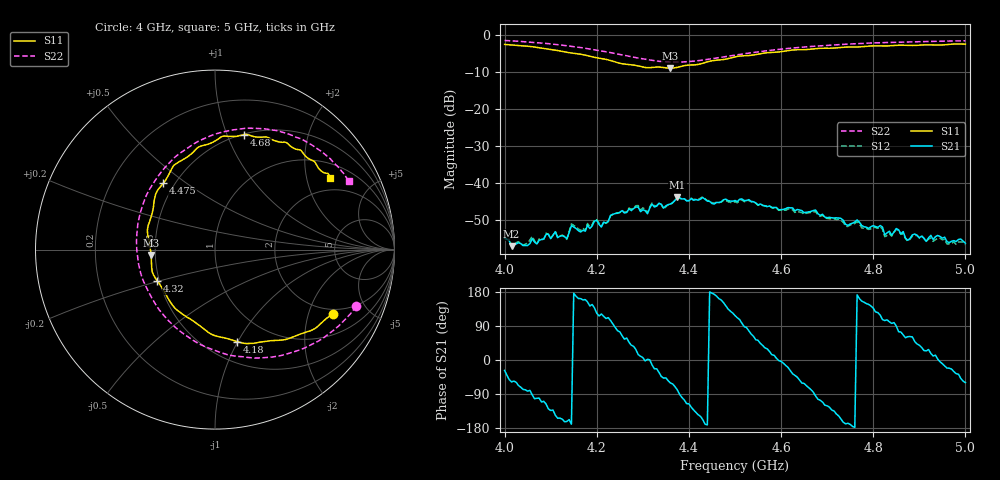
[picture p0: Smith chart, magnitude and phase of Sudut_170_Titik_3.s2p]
# Hz S RI R 50
! CMT, C1220, 16058040, 17.2.0/1
! Date: 15/08/2018 12:39:30
! Data: Format (Calibration Info)
! Freq  S11: Re/Im (F2)  S21: Re/Im (F2)  S12: Re/Im (F2)  S22: Re/Im (F2)
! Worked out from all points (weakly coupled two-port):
!   201 points, 4 GHz to 5 GHz, reference 50 ohm
!   highest |S21| = -43.71 dB at 4.375 GHz (marker M1); lowest = -57.0 dB at 4.015 GHz (marker M2)
!   lowest |S11| = -8.9 dB at 4.36 GHz (marker M3), VSWR 2.11, Z = 23.7 - j1.67 ohm
!   |S11| at or under -10 dB: nowhere
!   |S22| runs from -7.3 to -1.4 dB; largest |S21 - S12| = 0.00039
!   S11 on the Smith chart (normalised r, x): 4 GHz: 1.79, -2.92; 4.18 GHz: 0.70, -1.00; 4.32 GHz: 0.49, -0.20; 4.475 GHz: 0.43, +0.41; 4.68 GHz: 0.51, +1.15; 5 GHz: 1.48, +2.76
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4e9  0.6573 -0.3586  0.00161 -0.000839  0.00164 -0.000734  0.7868 -0.3146
4.015e9  0.6304 -0.3762  0.000756 -0.0012  0.000875 -0.00114  0.7614 -0.3494
4.06e9  0.5308 -0.4527  -7e-05 -0.00179  -7.54e-05 -0.00192  0.6662 -0.4448
4.07e9  0.5043 -0.4608  -0.000289 -0.00149  -0.000271 -0.00148  0.6405 -0.4645
4.11e9  0.3741 -0.5037  -0.00183 -0.00126  -0.0018 -0.00134  0.5231 -0.5362
4.135e9  0.2898 -0.5103  -0.00171 -0.000548  -0.00163 -0.000652  0.4375 -0.5697
4.145e9  0.2497 -0.5157  -0.00264 -0.000493  -0.00276 -0.000664  0.4 -0.5815
4.17e9  0.1579 -0.5215  -0.00216 0.000855  -0.00233 0.000895  0.3044 -0.5999
4.18e9  0.1249 -0.5133  -0.00242 0.00123  -0.00255 0.0013  0.262 -0.6027
4.21e9  0.0133 -0.4837  -0.00134 0.0022  -0.00135 0.00221  0.1341 -0.5956
4.285e9  -0.2371 -0.3092  0.00426 0.0022  0.00441 0.00233  -0.1877 -0.46
4.31e9  -0.2946 -0.213  0.00388 0.000124  0.004 -2.9e-05  -0.2771 -0.3758
4.32e9  -0.321 -0.1757  0.0051 -0.00118  0.00527 -0.00132  -0.3098 -0.337
4.335e9  -0.3492 -0.1251  0.00454 -0.00291  0.00445 -0.00309  -0.35 -0.2721
4.36e9  -0.3557 -0.0306  0.00257 -0.00459  0.00246 -0.0045  -0.4066 -0.1561
4.375e9  -0.3655 0.0395  0.00122 -0.00641  0.00113 -0.00636  -0.4257 -0.0803
4.475e9  -0.2888 0.3697  -0.00528 0.00286  -0.00504 0.00301  -0.3385 0.3766
4.5e9  -0.2428 0.4476  -0.00269 0.00521  -0.00251 0.00505  -0.2781 0.4583
4.67e9  0.1446 0.6356  0.000383 -0.00428  0.000303 -0.00408  0.2058 0.6763
4.68e9  0.1624 0.6404  -0.000916 -0.00379  -0.000877 -0.00363  0.2323 0.6751
4.835e9  0.4473 0.5604  -0.000426 0.00221  -0.000418 0.00205  0.551 0.5754
5e9  0.6401 0.4008  0.000784 -0.00134  0.000811 -0.00124  0.7467 0.3816
